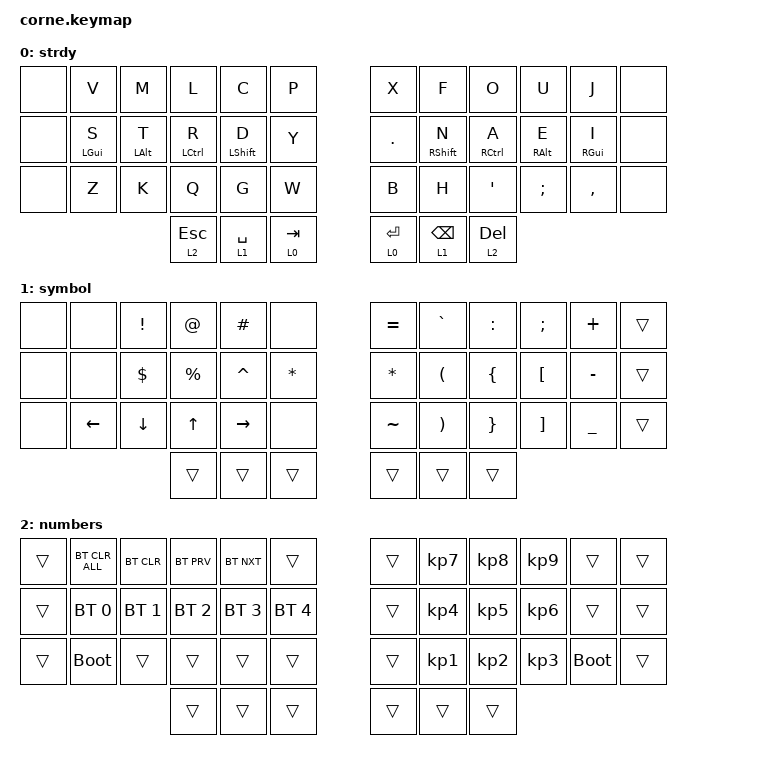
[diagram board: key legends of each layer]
/*
 * Copyright (c) 2020 The ZMK Contributors
 *
 * SPDX-License-Identifier: MIT
 */

#include <behaviors.dtsi>
#include <dt-bindings/zmk/bt.h>
#include <dt-bindings/zmk/keys.h>

&mt {
    require-prior-idle-ms = <400>;
    flavor = "balanced";
};

/ {
    keymap {
        compatible = "zmk,keymap";

        strdy {
            bindings = <
&none  &kp V       &kp M       &kp L         &kp C        &kp P        &kp X        &kp F            &kp O         &kp U          &kp J       &none
&none  &mt LGUI S  &mt LALT T  &mt LCTRL R   &mt LSHFT D  &kp Y        &kp PERIOD   &mt RSHIFT N     &mt RCTRL A   &mt RALT E     &mt RGUI I  &none
&none  &kp Z       &kp K       &kp Q         &kp G        &kp W        &kp B        &kp H            &kp SQT       &kp SEMICOLON  &kp COMMA   &none
                               &lt 2 ESCAPE  &lt 1 SPACE  &lt 0 TAB    &lt 0 ENTER  &lt 1 BACKSPACE  &lt 2 DELETE
            >;
        };

        symbol {
            bindings = <
&none  &none           &kp EXCLAMATION  &kp AT_SIGN   &kp HASH   &none           &kp EQUAL     &kp GRAVE              &kp COLON        &kp SEMICOLON      &kp PLUS        &trans
&none  &none           &kp DOLLAR       &kp PERCENT   &kp CARET  &kp ASTERISK    &kp ASTERISK  &kp LEFT_PARENTHESIS   &kp LEFT_BRACE   &kp LEFT_BRACKET   &kp MINUS       &trans
&none  &kp LEFT_ARROW  &kp DOWN_ARROW   &kp UP_ARROW  &kp RIGHT  &none           &kp TILDE     &kp RIGHT_PARENTHESIS  &kp RIGHT_BRACE  &kp RIGHT_BRACKET  &kp UNDERSCORE  &trans
                                        &trans        &trans     &trans          &trans        &trans                 &trans
            >;
        };

        numbers {
            bindings = <
&trans  &bt BT_CLR_ALL  &bt BT_CLR    &bt BT_PRV    &bt BT_NXT    &trans          &trans  &kp KP_NUMBER_7  &kp KP_NUMBER_8  &kp KP_NUMBER_9  &trans       &trans
&trans  &bt BT_SEL 0    &bt BT_SEL 1  &bt BT_SEL 2  &bt BT_SEL 3  &bt BT_SEL 4    &trans  &kp KP_NUMBER_4  &kp KP_NUMBER_5  &kp KP_NUMBER_6  &trans       &trans
&trans  &bootloader     &trans        &trans        &trans        &trans          &trans  &kp KP_NUMBER_1  &kp KP_NUMBER_2  &kp KP_NUMBER_3  &bootloader  &trans
                                      &trans        &trans        &trans          &trans  &trans           &trans
            >;
        };
    };
};
